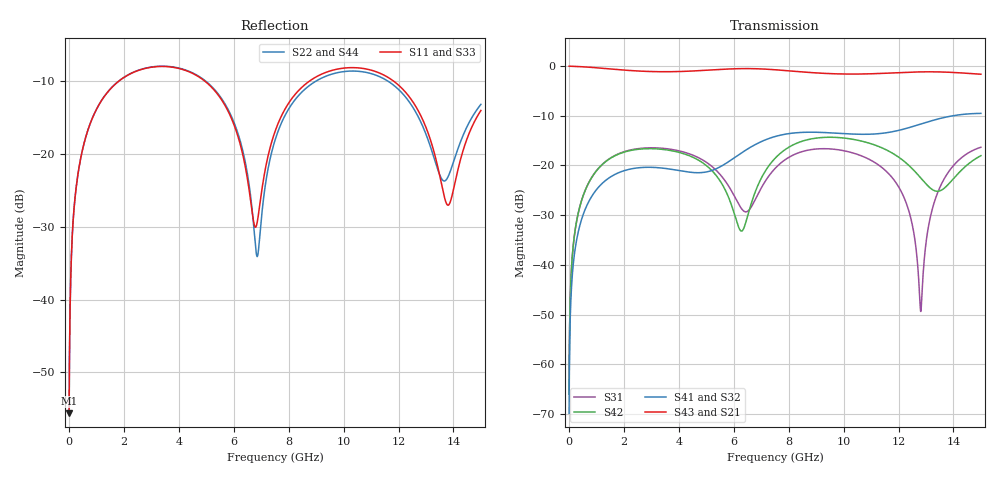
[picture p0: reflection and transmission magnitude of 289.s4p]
! Created with skrf 1.8.0 (http://scikit-rf.org).
# GHz S RI R 50.0
!freq ReS11 ImS11 ReS12 ImS12 ReS13 ImS13
! ReS14 ImS14
! ReS21 ImS21 ReS22 ImS22 ReS23 ImS23
! ReS24 ImS24
! ReS31 ImS31 ReS32 ImS32 ReS33 ImS33
! ReS34 ImS34
! ReS41 ImS41 ReS42 ImS42 ReS43 ImS43
! ReS44 ImS44
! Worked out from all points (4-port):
!   2499 points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, 5 MHz to 15 GHz, reference 50 ohm
!   strongest paths, dB at 5 MHz, 3.476 GHz, 7.19 GHz, 11.1 GHz, 15 GHz:
!     S43: 0.0, -1.1, -0.6, -1.5, -1.6
!     S21: 0.0, -1.1, -0.6, -1.5, -1.6
!     S41: -69.9, -20.6, -14.8, -13.7, -9.5
!     S32: -69.9, -20.6, -14.8, -13.8, -9.5
!     S42: -66.0, -16.8, -20.8, -15.8, -18.0
!     S31: -66.0, -16.6, -22.8, -19.3, -16.3
!   lowest |S11| = -55.6 dB at 5 MHz (marker M1), VSWR 1.00, Z = 50.1 + j0.101 ohm
!   |S11| at or under -10 dB: start of sweep to 1.834 GHz; 4.929 GHz to 8.777 GHz (3.848 GHz wide, 56.1 % of centre); 11.8 GHz to end of sweep
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0.005  0.00132 0.00101  0.9987 -0.00257  6.44e-05 0.000495  -6.28e-05 -0.000314
       0.9987 -0.00257  0.00132 0.00101  -6.28e-05 -0.000314  6.44e-05 0.000495
       6.44e-05 0.000495  -6.28e-05 -0.000314  0.00132 0.00101  0.9987 -0.00257
       -6.28e-05 -0.000314  6.44e-05 0.000495  0.9987 -0.00257  0.00132 0.00101
0.4126719  0.0253 0.0865  0.9649 -0.2098  0.0117 0.0385  -0.00962 -0.0241
           0.9649 -0.2098  0.0254 0.0865  -0.00961 -0.0241  0.0114 0.0386
           0.0117 0.0385  -0.00961 -0.0241  0.0254 0.0865  0.9649 -0.2098
           -0.00962 -0.0241  0.0114 0.0386  0.9649 -0.2098  0.0254 0.0865
1.975823  0.2776 0.1793  0.5338 -0.741  0.1261 0.0528  -0.088 -0.0037
          0.5338 -0.741  0.2791 0.1783  -0.0878 -0.0039  0.1221 0.0585
          0.1261 0.0528  -0.0878 -0.0039  0.2777 0.1792  0.5338 -0.7409
          -0.088 -0.0037  0.1221 0.0585  0.5338 -0.7409  0.2789 0.1784
6.790329  0.0313 -0.000923  -0.9389 -0.0688  -0.028 0.0363  -0.00599 0.1625
          -0.9389 -0.0688  0.0195 -0.0126  -0.00922 0.1623  0.0352 0.0422
          -0.028 0.0363  -0.00922 0.1623  0.0305 0.000593  -0.9389 -0.0685
          -0.00599 0.1625  0.0352 0.0422  -0.9389 -0.0685  0.0199 -0.0112
11.08587  0.3515 -0.1148  0.1936 0.8172  0.0907 -0.061  0.1833 -0.0964
          0.1936 0.8172  0.339 -0.0869  0.185 -0.0888  0.0776 -0.1428
          0.0907 -0.061  0.185 -0.0888  0.355 -0.1168  0.1922 0.8163
          0.1833 -0.0964  0.0776 -0.1428  0.1922 0.8163  0.3416 -0.0847
12.81159  0.1086 -0.1463  0.7435 0.4628  -0.00336 -0.000429  0.1276 -0.228
          0.7435 0.4628  0.1173 -0.1158  0.137 -0.2222  -0.0584 -0.0468
          -0.00336 -0.000429  0.137 -0.2222  0.1093 -0.1505  0.7416 0.4645
          0.1276 -0.228  -0.0584 -0.0468  0.7416 0.4645  0.1224 -0.1173
15  0.1417 0.1378  0.734 -0.383  0.1391 0.0626  -0.1906 -0.2747
    0.734 -0.383  0.1685 0.1379  -0.1783 -0.2817  0.1093 0.0617
    0.1391 0.0626  -0.1783 -0.2817  0.1403 0.1371  0.7359 -0.3809
    -0.1906 -0.2747  0.1093 0.0617  0.7359 -0.3809  0.1666 0.1334
